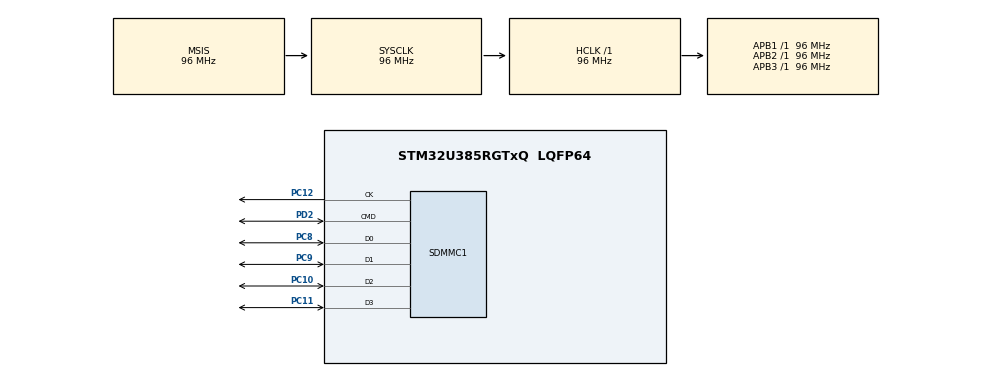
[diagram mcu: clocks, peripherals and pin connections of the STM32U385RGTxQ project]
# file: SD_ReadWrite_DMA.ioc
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CORTEX_M33_NS.userName=CORTEX_M33
Mcu.Family=STM32U3
Mcu.Name=STM32U385RGTxQ
Mcu.Package=LQFP64
NVIC.PriorityGroup=NVIC_PRIORITYGROUP_4
NVIC.SDMMC1_IRQn=true\:0\:0\:false\:false\:true\:true\:true\:true
PC10.Mode=SD_4_bits_Wide_bus
PC10.Signal=SDMMC1_D2
PC11.Mode=SD_4_bits_Wide_bus
PC11.Signal=SDMMC1_D3
PC12.Mode=SD_4_bits_Wide_bus
PC12.Signal=SDMMC1_CK
PC8.Mode=SD_4_bits_Wide_bus
PC8.Signal=SDMMC1_D0
PC9.Mode=SD_4_bits_Wide_bus
PC9.Signal=SDMMC1_D1
PD2.Mode=SD_4_bits_Wide_bus
PD2.Signal=SDMMC1_CMD
ProjectManager.HeapSize=0x200
ProjectManager.StackSize=0x400
ProjectManager.TargetToolchain=EWARM V9.20
RCC.ADCFreq_Value=96000000
RCC.AHBFreq_Value=96000000
RCC.APB1Freq_Value=96000000
RCC.APB1TimFreq_Value=96000000
RCC.APB2Freq_Value=96000000
RCC.APB2TimFreq_Value=96000000
RCC.APB3Freq_Value=96000000
RCC.CortexFreq_Value=12000000
RCC.HCLKFreq_Value=96000000
RCC.HSE_VALUE=16000000
RCC.HSI48_VALUE=48000000
RCC.HSI_VALUE=16000000
RCC.LSE_VALUE=32768
RCC.LSIDIV_VALUE=32000
RCC.MSIKDIV=RCC_MSI_DIV2
RCC.MSISDIV=RCC_MSI_DIV1
RCC.MSI_VALUE=96000000
RCC.SYSCLKFreq_VALUE=96000000
RCC.USBFreq_Value=96000000
SDMMC1.ClockDiv=4
SDMMC1.ClockEdge=SDMMC_CLOCK_EDGE_FALLING
SDMMC1.HardwareFlowControl=SDMMC_HARDWARE_FLOW_CONTROL_ENABLE
VP_ICACHE_VS_ICACHE.Mode=DirectMappedCache
VP_PWR_VS_DBSignals.Mode=DisableDeadBatterySignals
VP_PWR_VS_LPOM.Mode=PowerOptimisation
VP_PWR_VS_SECSignals.Mode=Security/Privilege
board=custom

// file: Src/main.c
/* USER CODE BEGIN Header */
/**
  ******************************************************************************
  * @file    SD/SD_ReadWrite_DMA/Src/main.c
  * @author  MCD Application Team
  * @brief   This example describes how to configure and use GPIOs through
  *          the STM32U3xx HAL API.
  ******************************************************************************
  * @attention
  *
  * Copyright (c) 2023 STMicroelectronics.
  * All rights reserved.
  *
  * This software is licensed under terms that can be found in the LICENSE file
  * in the root directory of this software component.
  * If no LICENSE file comes with this software, it is provided AS-IS.
  *
  ******************************************************************************
  */
/* USER CODE END Header */
#include "main.h"

/* USER CODE BEGIN PD */
/* USER CODE BEGIN PD */
/* ------ Buffer Size ------ */
#define SD_PRESENT                                 ((uint8_t)0x01)

#define BUFFER_SIZE            ((uint32_t)0x00010000U) /* 64Ko */
#define NB_BLOCK_BUFFER        BUFFER_SIZE / BLOCKSIZE /* Number of Block (512b) by Buffer */
#define SD_TIMEOUT             ((uint32_t)0x00100000U)
#define ADDRESS                ((uint32_t)0x00000400U) /* SD Address to write/read data */
#define DATA_PATTERN           ((uint32_t)0xB5F3A5F3U) /* Data pattern to write */
typedef enum {FAILED = 0, PASSED = !FAILED} TestStatus;

__IO TestStatus TransferStatus1 = FAILED, TransferStatus2 = FAILED, TransferStatus3 = FAILED;

/* USER CODE END PD */

SD_HandleTypeDef hsd1;

/* USER CODE BEGIN PV */
SD_HandleTypeDef SDHandle;
__IO uint8_t RxCplt, TxCplt;

/******** SD Transmission Buffer definition *******/
uint8_t aTxBuffer[BUFFER_SIZE];
/**************************************************/

/******** SD Receive Buffer definition *******/
uint8_t aRxBuffer[BUFFER_SIZE];
/* USER CODE END PD */

/* Private macro -------------------------------------------------------------*/
/* USER CODE BEGIN PM */

/* USER CODE END PM */

/* Private variables ---------------------------------------------------------*/

/* USER CODE BEGIN PV */
static GPIO_InitTypeDef  GPIO_InitStruct;
SD_HandleTypeDef hsd_card;

/* USER CODE END PV */

void SystemClock_Config(void);
static void MX_GPIO_Init(void);
static void MX_SDMMC1_SD_Init(void);
static void MX_ICACHE_Init(void);
/* USER CODE BEGIN PFP */
uint8_t SD_Detect(SD_HandleTypeDef *hsd);
/* USER CODE END PFP */

/* USER CODE BEGIN 0 */
static uint8_t Wait_SDCARD_Ready(void);

/* USER CODE END 0 */

int main(void)
{

  /* USER CODE BEGIN 1 */
  uint32_t index = 0;
  HAL_SD_CardCIDTypeDef pCID;

  /* USER CODE END 1 */

  /* MCU Configuration--------------------------------------------------------*/

  /* Reset of all peripherals, Initializes the Flash interface and the Systick. */
  HAL_Init();

  /* Configure the system clock */
  SystemClock_Config();

  /* Initialize all configured peripherals */
  MX_GPIO_Init();
  MX_SDMMC1_SD_Init();
  MX_ICACHE_Init();
  /* USER CODE BEGIN 2 */
  LED2_GPIO_CLK_ENABLE();

  /* -2- Configure IO in output push-pull mode to drive external LEDs */
  GPIO_InitStruct.Mode  = GPIO_MODE_OUTPUT_PP;
  GPIO_InitStruct.Pull  = GPIO_NOPULL;
  GPIO_InitStruct.Speed = GPIO_SPEED_FREQ_HIGH;
  GPIO_InitStruct.Pin = LED2_PIN;
  HAL_GPIO_Init(LED2_GPIO_PORT, &GPIO_InitStruct);

  HAL_SD_ConfigSpeedBusOperation(&hsd1,SDMMC_SPEED_MODE_HIGH);

  if(HAL_SD_Erase(&hsd1, ADDRESS, ADDRESS+BUFFER_SIZE) != HAL_OK)
  {
    Error_Handler();
  }
  if(Wait_SDCARD_Ready() != HAL_OK)
  {
    Error_Handler();
  }

  HAL_SD_GetCardCID(&hsd1, &pCID);

  /*##- 2 - Initialize Transmission buffer #####################*/
  for (index = 0; index < BUFFER_SIZE; index++)
  {
    aTxBuffer[index] = DATA_PATTERN + index;
  }

  {
    TxCplt = 0;
    /*##- 3 - Start Transmission buffer #####################*/
    if(HAL_SD_WriteBlocks_DMA(&hsd1, aTxBuffer, ADDRESS, NB_BLOCK_BUFFER) != HAL_OK)
    {
      Error_Handler();
    }
    while(TxCplt == 0);
  }

  /*##- 4 - Initialize Reception buffer #####################*/

  for (index = 0; index < BUFFER_SIZE; index++)
  {
    aRxBuffer[index] = 0;
  }

  /*##- 5 -  Data read  #####################*/

 {
    /*##- 5 -  Data read  #####################*/
    RxCplt = 0;
    if(HAL_SD_ReadBlocks_DMA(&hsd1, aRxBuffer, ADDRESS, NB_BLOCK_BUFFER) != HAL_OK)
    {
      Error_Handler();
    }
    while(RxCplt == 0);
  }

  /*##- 6 - Check Reception buffer #####################*/

  for (index = 0 ; index< (BUFFER_SIZE); index++)
  {
    if (aRxBuffer[index] != aTxBuffer[index])
    {
      Error_Handler();
    }
  }
  /* USER CODE END 2 */

  /* Infinite loop */
  while (1)
  {

    /* USER CODE BEGIN 3 */
    HAL_GPIO_TogglePin(LED2_GPIO_PORT, LED2_PIN);

    /* Insert delay 100 ms */
    HAL_Delay(100);

  }
  /* USER CODE END 3 */
}

void SystemClock_Config(void)
{
  RCC_OscInitTypeDef RCC_OscInitStruct = {0};
  RCC_ClkInitTypeDef RCC_ClkInitStruct = {0};

  /** Configure the System Power Supply
  */
  if (HAL_PWREx_ConfigSupply(PWR_SMPS_SUPPLY) != HAL_OK)
  {
    Error_Handler();
  }

  /** Enable Epod Booster
  */
  if (HAL_RCCEx_EpodBoosterClkConfig(RCC_EPODBOOSTER_SOURCE_MSIS, RCC_EPODBOOSTER_DIV1) != HAL_OK)
  {
    Error_Handler();
  }
  if (HAL_PWREx_EnableEpodBooster() != HAL_OK)
  {
    Error_Handler();
  }

  /** Configure the main internal regulator output voltage
  */
  if (HAL_PWREx_ControlVoltageScaling(PWR_REGULATOR_VOLTAGE_SCALE1) != HAL_OK)
  {
    Error_Handler();
  }

  /** Set Flash latency before increasing MSIS
  */
  __HAL_FLASH_SET_LATENCY(FLASH_LATENCY_2);

  /** Initializes the CPU, AHB and APB buses clocks
  */
  RCC_OscInitStruct.OscillatorType = RCC_OSCILLATORTYPE_MSIS;
  RCC_OscInitStruct.MSISState = RCC_MSI_ON;
  RCC_OscInitStruct.MSISSource = RCC_MSI_RC0;
  RCC_OscInitStruct.MSISDiv = RCC_MSI_DIV1;
  if (HAL_RCC_OscConfig(&RCC_OscInitStruct) != HAL_OK)
  {
    Error_Handler();
  }

  /** Initializes the CPU, AHB and APB buses clocks
  */
  RCC_ClkInitStruct.ClockType = RCC_CLOCKTYPE_HCLK|RCC_CLOCKTYPE_SYSCLK
                              |RCC_CLOCKTYPE_PCLK1|RCC_CLOCKTYPE_PCLK2
                              |RCC_CLOCKTYPE_PCLK3;
  RCC_ClkInitStruct.SYSCLKSource = RCC_SYSCLKSOURCE_MSIS;
  RCC_ClkInitStruct.AHBCLKDivider = RCC_SYSCLK_DIV1;
  RCC_ClkInitStruct.APB1CLKDivider = RCC_HCLK_DIV1;
  RCC_ClkInitStruct.APB2CLKDivider = RCC_HCLK_DIV1;
  RCC_ClkInitStruct.APB3CLKDivider = RCC_HCLK_DIV1;

  if (HAL_RCC_ClockConfig(&RCC_ClkInitStruct, FLASH_LATENCY_2) != HAL_OK)
  {
    Error_Handler();
  }
}

static void MX_ICACHE_Init(void)
{

  /** Enable instruction cache in 1-way (direct mapped cache)
  */
  if (HAL_ICACHE_ConfigAssociativityMode(ICACHE_1WAY) != HAL_OK)
  {
    Error_Handler();
  }
  if (HAL_ICACHE_Enable() != HAL_OK)
  {
    Error_Handler();
  }

}

static void MX_SDMMC1_SD_Init(void)
{

  hsd1.Instance = SDMMC1;
  hsd1.Init.ClockEdge = SDMMC_CLOCK_EDGE_FALLING;
  hsd1.Init.ClockPowerSave = SDMMC_CLOCK_POWER_SAVE_DISABLE;
  hsd1.Init.BusWide = SDMMC_BUS_WIDE_4B;
  hsd1.Init.HardwareFlowControl = SDMMC_HARDWARE_FLOW_CONTROL_ENABLE;
  hsd1.Init.ClockDiv = 4;
  if (HAL_SD_Init(&hsd1) != HAL_OK)
  {
    Error_Handler();
  }

}

static void MX_GPIO_Init(void)
{

  /* GPIO Ports Clock Enable */
  __HAL_RCC_GPIOC_CLK_ENABLE();
  __HAL_RCC_GPIOD_CLK_ENABLE();

}

/* USER CODE BEGIN 4 */
/**
* @brief  Wait SD Card ready status
* @param  None
* @retval None
*/
static uint8_t Wait_SDCARD_Ready(void)
{
  uint32_t loop = SD_TIMEOUT;

  /* Wait for the Erasing process is completed */
  /* Verify that SD card is ready to use after the Erase */
  while(loop > 0)
  {
    loop--;
    if(HAL_SD_GetCardState(&hsd1) == HAL_SD_CARD_TRANSFER)
    {
      return HAL_OK;
    }
  }
  return HAL_ERROR;
}

/**
* @brief Rx Transfer completed callbacks
* @param hsd: SD handle
* @retval None
*/
void HAL_SD_RxCpltCallback(SD_HandleTypeDef *hsd)
{
  if(Wait_SDCARD_Ready() != HAL_OK)
  {
    Error_Handler();
  }
  RxCplt=1;
}

/**
* @brief Tx Transfer completed callbacks
* @param hsd: SD handle
* @retval None
*/
void HAL_SD_TxCpltCallback(SD_HandleTypeDef *hsd)
{
  if(Wait_SDCARD_Ready() != HAL_OK)
  {
    Error_Handler();
  }
  TxCplt=1;
}

uint8_t SD_Detect(SD_HandleTypeDef *hsd)
{
  __IO uint8_t status = SD_PRESENT;

  return status;
}
/* USER CODE END 4 */

void Error_Handler(void)
{
  /* USER CODE BEGIN Error_Handler_Debug */
  /* User can add his own implementation to report the HAL error return state */
  while(1)
  {
    HAL_GPIO_TogglePin(LED2_GPIO_PORT, LED2_PIN);
  }
  /* USER CODE END Error_Handler_Debug */
}
